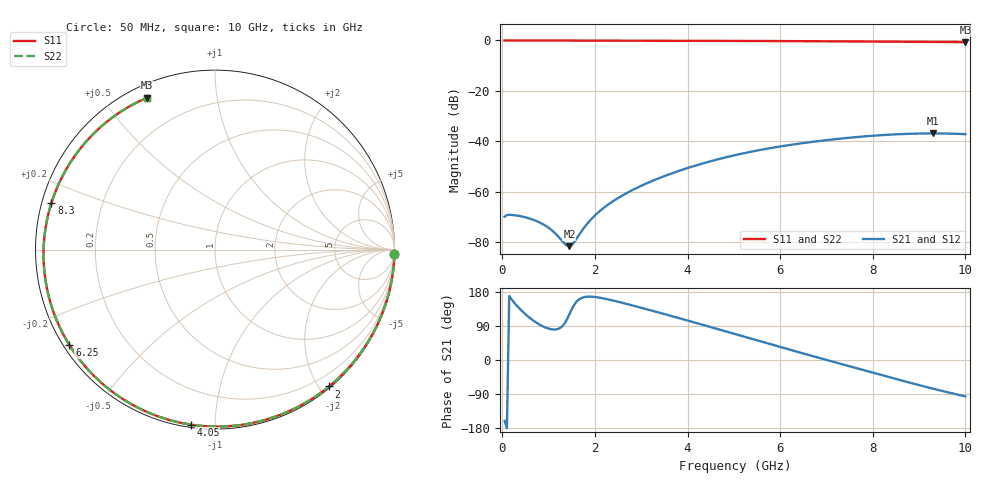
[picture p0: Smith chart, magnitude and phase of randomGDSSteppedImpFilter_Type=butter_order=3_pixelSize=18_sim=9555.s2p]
! freq	dB(S11)	phase(S11)	dB(S12)	phase(S12)
!  dB(S21)	phase(S21)	dB(S22)	phase(S22)
!S-par simulation data
#  GHz  S  DB  R 50
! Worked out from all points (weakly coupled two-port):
!   200 points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, 50 MHz to 10 GHz, reference 50 ohm
!   highest |S21| = -36.83 dB at 9.3 GHz (marker M1); lowest = -81.5 dB at 1.45 GHz (marker M2)
!   lowest |S11| = -0.7 dB at 10 GHz (marker M3), VSWR 26.33, Z = 2.7 + j32.4 ohm
!   |S11| at or under -10 dB: nowhere
!   |S22| runs from -0.7 to 0.0 dB; largest |S21 - S12| = 0
!   S11 on the Smith chart (normalised r, x): 50 MHz: 0, -89; 2 GHz: 0.02, -2.14; 4.05 GHz: 0.01, -0.87; 6.25 GHz: 0.02, -0.30; 8.3 GHz: 0.03, +0.14; 10 GHz: 0.05, +0.65
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0.05  -0.00 -1.3  -69.83 -160.6  -69.83 -160.6  -0.00 -1.3
0.1  -0.00 -2.6  -69.17 -179.7  -69.17 -179.7  -0.00 -2.6
0.25  -0.00 -6.4  -69.21 152.5  -69.21 152.5  -0.00 -6.4
0.7  -0.02 -17.9  -71.26 101.4  -71.26 101.4  -0.02 -17.9
1  -0.03 -25.5  -74.22 82.8  -74.22 82.8  -0.03 -25.5
1.3  -0.04 -33.0  -79.61 89.6  -79.61 89.6  -0.04 -33.0
1.45  -0.05 -36.7  -81.51 121.1  -81.51 121.1  -0.05 -36.7
1.55  -0.05 -39.1  -79.96 145.2  -79.96 145.2  -0.05 -39.1
1.75  -0.06 -44.1  -74.58 165.3  -74.58 165.3  -0.06 -44.1
2  -0.06 -50.2  -69.34 166.3  -69.34 166.3  -0.06 -50.2
2.25  -0.07 -56.2  -65.49 160.9  -65.49 160.9  -0.07 -56.2
2.6  -0.08 -64.6  -61.35 150.6  -61.35 150.6  -0.08 -64.5
3.4  -0.11 -83.2  -54.46 124.6  -54.46 124.6  -0.11 -83.2
4.05  -0.14 -98.0  -50.26 102.5  -50.26 102.5  -0.14 -97.9
5.05  -0.19 -120.2  -45.34 67.6  -45.34 67.6  -0.19 -120.2
6.25  -0.27 -146.8  -41.29 25.7  -41.29 25.7  -0.27 -146.7
6.7  -0.30 -157.0  -40.16 10.4  -40.16 10.4  -0.30 -156.9
7.55  -0.39 -177.0  -38.44 -18.3  -38.44 -18.3  -0.39 -177.0
8.3  -0.47 164.0  -37.39 -43.4  -37.39 -43.4  -0.47 164.1
8.35  -0.47 162.7  -37.33 -45.1  -37.33 -45.1  -0.47 162.7
9.3  -0.58 136.0  -36.83 -75.7  -36.83 -75.7  -0.58 136.1
10  -0.66 114.1  -37.11 -96.1  -37.11 -96.1  -0.66 114.2
